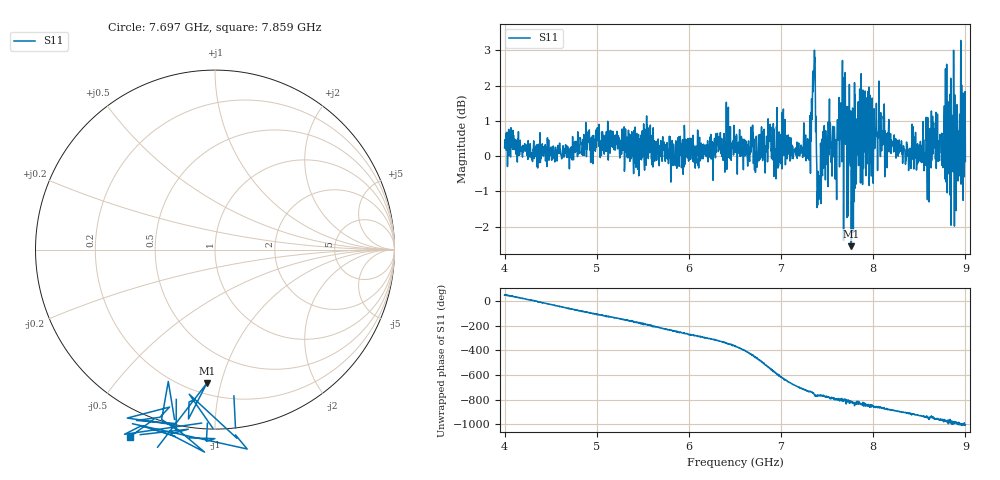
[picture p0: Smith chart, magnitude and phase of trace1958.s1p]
! Created with skrf 1.8.0 (http://scikit-rf.org).
# Hz S RI R 50.0
!freq ReS11 ImS11
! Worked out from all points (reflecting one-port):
!   1601 points, 4 GHz to 9 GHz, reference 50 ohm
!   lowest |S11| = -2.6 dB at 7.762 GHz (marker M1), VSWR 6.86, Z = 13.5 - j45.2 ohm
!   phase of S11 starts at 47 deg and turns -1051 deg over the sweep
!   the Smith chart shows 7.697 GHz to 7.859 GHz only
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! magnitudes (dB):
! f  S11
! 4 GHz  0.2
! 4.625 GHz  0.0
! 5.25 GHz  -0.1
! 5.875 GHz  0.1
! 6.5 GHz  0.1
! 7.038 GHz  0.5
! 7.125 GHz  0.3
! 7.294 GHz  0.0
! 7.356 GHz  2.4
! 7.4 GHz  -0.4
! 7.412 GHz  -0.7
! 7.453 GHz  0.4
! 7.516 GHz  0.1
! 7.578 GHz  0.8
! 7.672 GHz  2.2
! 7.75 GHz  0.6
! 7.762 GHz  -2.6
! 7.788 GHz  -0.1
! 7.844 GHz  1.2
! 7.891 GHz  0.7
! 8.375 GHz  0.2
! 8.581 GHz  0.5
! 8.656 GHz  0.9
! 8.738 GHz  0.5
! 8.791 GHz  -0.7
! 8.906 GHz  1.0
! 8.972 GHz  1.1
! 9 GHz  -0.2
